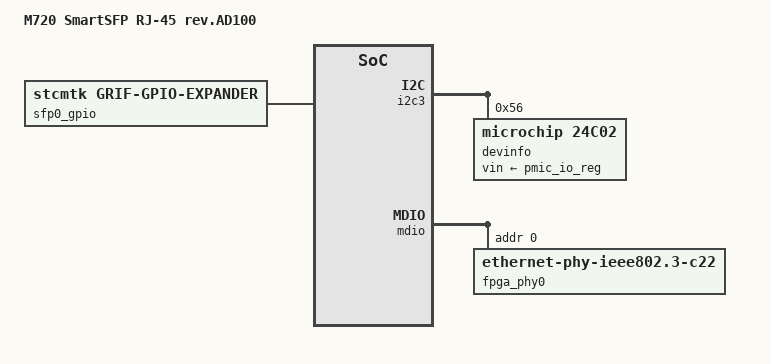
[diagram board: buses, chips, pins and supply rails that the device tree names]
#include "m720-2.dtsi"

/ {
	model = "M720 SmartSFP RJ-45 rev.AD100";

	host-gpio {
		compatible = "linux,gpio-exporter";
		status = "okay";
		exported-gpios = <&sfp0_gpio 0 GPIO_ACTIVE_HIGH>,
				 <&sfp0_gpio 1 GPIO_ACTIVE_HIGH>,
				 <&sfp0_gpio 2 GPIO_ACTIVE_HIGH>,
				 <&sfp0_gpio 3 GPIO_ACTIVE_HIGH>,
				 <&sfp0_gpio 4 GPIO_ACTIVE_HIGH>,
				 <&sfp0_gpio 5 GPIO_ACTIVE_HIGH>,
				 <&sfp0_gpio 6 GPIO_ACTIVE_HIGH>;
		exported-gpio-names = "tx-sd",
				      "rx-los",
				      "tx-dis",
				      "tx-flt",
				      "rate-select",
				      "rx-los-ctrl",
				      "tx-flt-ctrl";
		exported-gpio-directions = "in", "in", "in", "in", "in", "high", "high";
	};

	cpu-gpio {
		compatible = "linux,gpio-exporter";
		pinctrl-names = "default";
		pinctrl-0 = <&pinctrl_eeprom &pinctrl_userswitch>;
		status = "okay";
		exported-gpios = <&gpio3 12 GPIO_ACTIVE_HIGH>,
				 <&gpio3 13 GPIO_ACTIVE_HIGH>,
				 <&gpio1  9 GPIO_ACTIVE_HIGH>,
				 <&gpio3 15 GPIO_ACTIVE_LOW>,
				 <&gpio3 16 GPIO_ACTIVE_LOW>;
		exported-gpio-names = "host-eeprom-write-protect",
				      "host-eeprom-address-select",
				      "devinfo-eeprom-write-protect",
				      "user-set0",
				      "user-set1";
		exported-gpio-directions = "high", "low", "high", "in", "in";
	};
	
	sfp0_gpio: fpga-sfp0-gpio {
		compatible = "stcmtk,grif-gpio-expander";
		target-fpga = <&fpga0>;
		gpio-controller;
		#gpio-cells = <2>;
		gpio-line-names = "tx-sd", "rx-los",
				  "tx-dis", "tx-fault",
				  "rate-select", "rx-los-ctrl",
				  "tx-flt-ctrl";
	};
};

&i2c3 {
	/* device info EEPROM */
	devinfo@56 {
		compatible = "microchip,24c02", "at24";
		vin-supply = <&pmic_io_reg>;
		reg = <0x56>;
		pagesize = <8>;
	};
};

&iomuxc {
	stcmtk-smart-sfp {
		pinctrl_eeprom: eepromgrp {
			fsl,pins = <
				MX6UL_PAD_LCD_DATA07__GPIO3_IO12 0x000018B0 /*nWP_EEP,Host EEPROM write protect */
				MX6UL_PAD_GPIO1_IO09__GPIO1_IO09 0x000018B0 /* Device info EEPROM write protect*/
				MX6UL_PAD_LCD_DATA08__GPIO3_IO13 0x000010B0 /* EEP_ASET, Address */
			>;
		};
	};
};

&fpga_net0 {
	phy-mode = "rgmii-id";
	phy-handle = <&fpga_phy0>;

	mdio {
		#address-cells = <1>;
		#size-cells = <0>;

		fpga_phy0: ethernet-phy@0 {
			compatible = "ethernet-phy-ieee802.3-c22";
			reg = <0>;
			max-speed = <1000>;
		};
	};
};

&pmic	{
	regulators {
	        /* 3V3_SFP - test point P11 */
	        pmic_laser_reg: sw2 {
			regulator-name = "not_connected";
			regulator-min-microvolt = <3000000>;
			regulator-max-microvolt = <3300000>;
		};
		/* 2V5_FPGA - test point P10 */
		pmic_fpga_aux_reg: vldo1 {
			regulator-name = "fpga_vccaux_vccauxa";
			regulator-min-microvolt = <2400000>;
			regulator-max-microvolt = <2600000>;
			regulator-boot-on;
			regulator-always-on;
		};
		/* 1V1_TRA - test point P6 */
		pmic_fpga_tra_reg: vldo2 {
			regulator-name = "fpga_vcch";
			regulator-min-microvolt = <1050000>;
			regulator-max-microvolt = <1150000>;
			regulator-boot-on;
			regulator-always-on;
		};
	};
};
